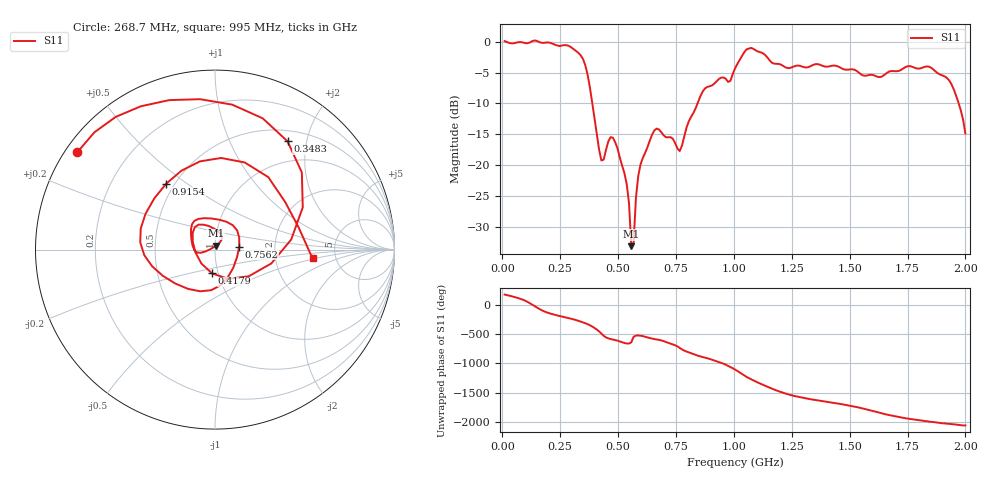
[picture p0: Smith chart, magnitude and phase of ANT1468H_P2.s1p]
!Created with skrf (http://scikit-rf.org).
# Hz S RI R 50.0
!freq ReS11 ImS11
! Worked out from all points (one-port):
!   201 points, 10 MHz to 2 GHz, reference 50 ohm
!   lowest |S11| = -33.2 dB at 557.2 MHz (marker M1), VSWR 1.04, Z = 50.5 + j2.15 ohm
!   |S11| at or under -10 dB: 388.8 MHz to 843.2 MHz (454.4 MHz wide, 73.8 % of centre); 1.971 GHz to end of sweep
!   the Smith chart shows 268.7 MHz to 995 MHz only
!   S11 on the Smith chart (normalised r, x): 268.7 MHz: 0.03, +0.32; 348.3 MHz: 0.66, +1.68; 417.9 MHz: 0.93, -0.25; 756.2 MHz: 1.31, +0.04; 915.5 MHz: 0.45, +0.42; 995 MHz: 3.33, -0.47
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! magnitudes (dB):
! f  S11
! 10 MHz  0.1
! 258.8 MHz  -0.6
! 268.7 MHz  -0.5
! 348.3 MHz  -2.8
! 378.1 MHz  -7.4
! 417.9 MHz  -17.5
! 437.9 MHz  -19.1
! 477.6 MHz  -15.6
! 507.5 MHz  -18.8
! 537.4 MHz  -23.1
! 547.3 MHz  -26.2
! 557.2 MHz  -33.2
! 567.2 MHz  -32.6
! 577.1 MHz  -25.4
! 587.1 MHz  -21.8
! 646.8 MHz  -15.1
! 756.2 MHz  -17.3
! 865.7 MHz  -8.1
! 915.5 MHz  -6.8
! 995 MHz  -5.3
! 1.005 GHz  -4.3
! 1.075 GHz  -1.0
! 1.254 GHz  -4.1
! 1.502 GHz  -4.5
! 1.632 GHz  -5.7
! 1.751 GHz  -4.0
! 1.93 GHz  -6.3
! 2 GHz  -14.9
